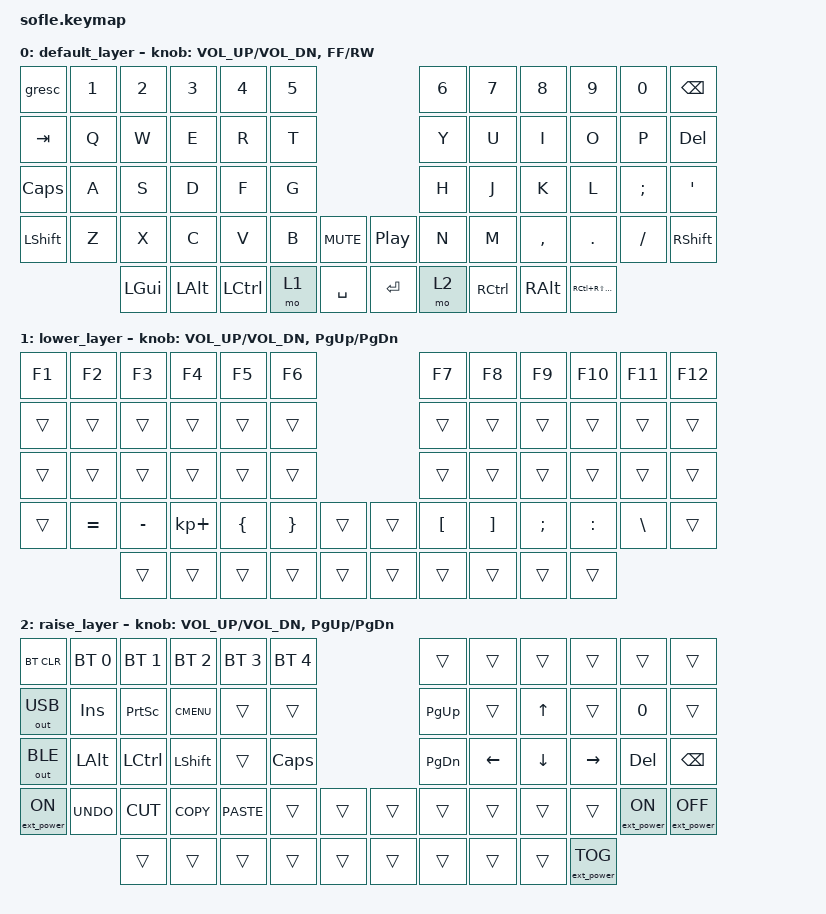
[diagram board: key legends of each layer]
/*
 * Copyright (c) 2020 The ZMK Contributors
 *
 * SPDX-License-Identifier: MIT
 */

#include <behaviors.dtsi>
#include <dt-bindings/zmk/keys.h>
#include <dt-bindings/zmk/bt.h>
#include <dt-bindings/zmk/ext_power.h>
#include <dt-bindings/zmk/outputs.h>



#define DEFAULT 0
#define LOWER   1
#define RAISE   2
/ {
    keymap {
        compatible = "zmk,keymap";

        default_layer {
// ------------------------------------------------------------------------------------------------------------
// |   ESC |  1  |  2  |  3   |  4   |  5   |                   |  6   |  7    |  8    |  9   |   0   | BKSP  |
// |  TAB  |  Q  |  W  |  E   |  R   |  T   |                   |  Y   |  U    |  I    |  O   |   P   |   \   |
// |  CAP  |  A  |  S  |  D   |  F   |  G   |                   |  H   |  J    |  K    |  L   |   ;   |   '   |
// | SHIFT |  Z  |  X  |  C   |  V   |  B   |  MUTE  |  | PLAY  |  N   |  M    |  ,    |  .   |   /   | SHIFT |
//               | GUI | ALT  | CTRL | LOWER|  SPACE |  | ENTER | RAISE| CTRL  | ALT   | GUI  |
            bindings = <
&gresc    &kp N1 &kp N2   &kp N3   &kp N4    &kp N5                        &kp N6 &kp N7    &kp N8    &kp N9   &kp N0   &kp BSPC
&kp TAB   &kp Q  &kp W    &kp E    &kp R     &kp T                         &kp Y  &kp U     &kp I     &kp O    &kp P    &kp DEL
&kp CAPS  &kp A  &kp S    &kp D    &kp F     &kp G                         &kp H  &kp J     &kp K     &kp L    &kp SEMI &kp SQT
&kp LSHFT &kp Z  &kp X    &kp C    &kp V     &kp B  &kp C_MUTE   &kp C_PP  &kp N  &kp M     &kp COMMA &kp DOT  &kp FSLH &kp RSHFT
                 &kp LGUI &kp LALT &kp LCTRL &mo 1  &kp SPACE    &kp RET   &mo 2  &kp RCTRL &kp RALT &kp RC(RS(DEL))
            >;

            sensor-bindings = <&inc_dec_kp C_VOL_UP C_VOL_DN &inc_dec_kp C_FF C_RW>;
        };

        lower_layer {
// TODO: Some binds are waiting for shifted keycode support.
// ------------------------------------------------------------------------------------------------------------
// |  F1   |  F2 |  F3 |  F4  |  F5  |  F6  |                   |  F7  |  F8   |  F9   | F10  |  F11  |  F12  |
// |       |     |     |      |      |      |                   |      |       |       |      |       |       |
// |       |     |     |      |      |      |                   |      |       |       |      |       |       |
// |       |  =  |  -  |  +   |  {   |  }   |        |  |       |  [   |  ]    |  ;    |  :   |   \   |       |
//               |     |      |      |      |        |  |       |      |       |       |      |
            bindings = <
&kp F1    &kp F2    &kp F3    &kp F4      &kp F5    &kp F6                    &kp F7    &kp F8    &kp F9         &kp F10   &kp F11   &kp F12
&trans    &trans    &trans    &trans      &trans    &trans                    &trans    &trans    &trans         &trans    &trans    &trans
&trans    &trans    &trans    &trans      &trans    &trans                    &trans    &trans    &trans         &trans    &trans    &trans
&trans    &kp EQUAL &kp MINUS &kp KP_PLUS &kp LBRC  &kp RBRC  &trans   &trans &kp LBKT  &kp RBKT &kp SEMI        &kp COLON &kp BSLH  &trans
                    &trans    &trans      &trans    &trans    &trans   &trans &trans    &trans   &trans          &trans
            >;

            sensor-bindings = <&inc_dec_kp C_VOL_UP C_VOL_DN &inc_dec_kp PG_UP PG_DN>;
        };

        raise_layer {
// ------------------------------------------------------------------------------------------------------------
// |BTCLR| BT1  | BT2  |  BT3  |  BT4  |  BT5 |                |      |      |       |      |       |       |
// |     | INS  | PSCR | GUI   |       |      |                | PGUP |      |   ^   |      |       |       |
// |     | ALT  | CTRL | SHIFT |       | CAPS |                | PGDN |   <- |   v   |  ->  |  DEL  | BKSPC |
// |     | UNDO | CUT  | COPY  | PASTE |      |      |  |      |      |      |       |      |       |       |
//              |      |       |       |      |      |  |      |      |      |       |      |
            bindings = <
&bt BT_CLR &bt BT_SEL 0 &bt BT_SEL 1 &bt BT_SEL 2 &bt BT_SEL 3 &bt BT_SEL 4             &trans    &trans    &trans   &trans    &trans  &trans
&out OUT_USB   &kp INS      &kp PSCRN    &kp K_CMENU  &trans      &trans                   &kp PG_UP &trans    &kp UP   &trans    &kp N0  &trans
&out OUT_BLE  &kp LALT     &kp LCTRL    &kp LSHFT    &trans       &kp CLCK                 &kp PG_DN &kp LEFT  &kp DOWN &kp RIGHT &kp DEL &kp BSPC
&ext_power EP_ON   &kp K_UNDO   &kp K_CUT    &kp K_COPY   &kp K_PASTE  &trans  &trans   &trans  &trans    &trans    &trans   &trans  &ext_power EP_ON &ext_power EP_OFF
                        &trans       &trans       &trans       &trans  &trans   &trans  &trans    &trans    &trans   &ext_power EP_TOG
            >;

            sensor-bindings = <&inc_dec_kp C_VOL_UP C_VOL_DN &inc_dec_kp PG_UP PG_DN>;
        };
    };
};
